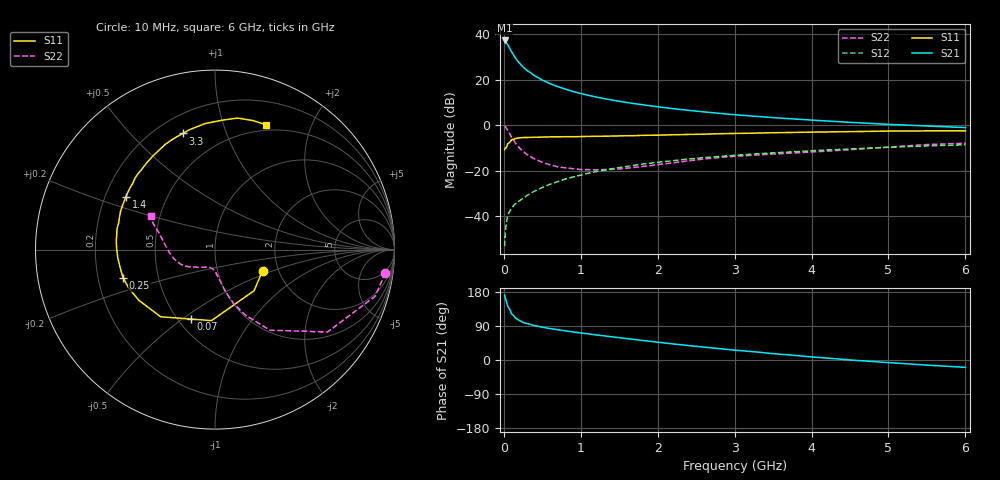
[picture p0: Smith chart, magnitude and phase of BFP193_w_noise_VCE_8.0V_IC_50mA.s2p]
! (c) 2017  Infineon Technologies AG, Munich
! Infineon Technologies  Discrete & RF Semiconductors
! BFP193
! VCE =  8.0 V,  IC =  50 mA
! Common Emitter S-Parameters:  Jan 2017
# GHz  S  MA  R  50
!  f  S11  S21  S12  S22
! GHz  MAG  ANG  MAG  ANG  MAG  ANG  MAG  ANG
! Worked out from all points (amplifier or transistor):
!   77 points, 10 MHz to 6 GHz, reference 50 ohm
!   highest |S21| = 37.2 dB at 10 MHz (marker M1)
!   |S21| within 3 dB of that: start of sweep to 68.52 MHz
!   unconditionally stable (mu >= 1): 613.8 MHz to 2.379 GHz
!   at 130 MHz: K = 0.58, MSG = 32.9 dB, |S12| = -35.2 dB
!   at 2.2 GHz: K = 1.01, MAG = 10.8 dB, |S12| = -15.6 dB
!   at 6 GHz: K = 0.91, MSG = 3.8 dB, |S12| = -8.6 dB
!   lowest NFmin = 1.52 dB at 450 MHz
!   S11 on the Smith chart (normalised r, x): 10 MHz: 1.65, -0.43; 70 MHz: 0.58, -0.54; 250 MHz: 0.31, -0.14; 1.4 GHz: 0.29, +0.25; 3.3 GHz: 0.30, +0.72; 6 GHz: 0.44, +1.40
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0.01  0.2901 -24.0  72.64 170.8  0.0022 81.8  0.9584 -7.8
0.02  0.3159 -46.4  70.98 162.9  0.0045 80.8  0.9286 -16.3
0.05  0.3961 -92.8  58.73 142.2  0.0104 66.4  0.777 -36.2
0.07  0.4092 -108.9  50.88 135.8  0.0123 63.0  0.6756 -42.3
0.1  0.4811 -128.9  40.85 121.9  0.0151 59.4  0.5447 -55.6
0.15  0.5099 -146.4  29.86 111.0  0.0188 57.2  0.4035 -65.1
0.2  0.5261 -156.0  23.29 104.3  0.0217 60.2  0.32 -70.8
0.25  0.5358 -163.0  18.97 99.4  0.0248 61.3  0.266 -74.1
0.3  0.5371 -167.7  15.96 96.0  0.0285 63.1  0.2269 -76.9
0.4  0.5436 -174.9  12.17 90.6  0.0357 66.3  0.1804 -80.3
0.5  0.548 179.5  9.777 86.5  0.0427 66.5  0.1533 -83.6
0.6  0.5526 175.1  8.2 83.0  0.0504 67.3  0.1347 -86.8
0.7  0.5537 171.5  7.041 80.0  0.0575 68.8  0.1216 -89.2
0.9  0.5573 164.4  5.49 74.1  0.0729 67.3  0.1107 -95.4
1.1  0.5675 158.1  4.526 68.9  0.0882 66.5  0.1057 -101.7
1.4  0.5773 149.3  3.583 61.3  0.1104 63.4  0.1069 -113.1
2.1  0.6095 130.5  2.418 44.7  0.1598 55.2  0.1423 -136.7
3.1  0.6624 109.2  1.65 24.4  0.2234 42.8  0.2121 -159.0
3.3  0.6715 105.5  1.555 20.8  0.2349 40.5  0.2218 -163.0
4.1  0.7074 92.8  1.265 6.6  0.2798 31.2  0.2637 -179.9
5.1  0.7438 79.0  1.026 -8.2  0.3312 19.8  0.3391 161.4
6  0.7516 67.8  0.887 -19.5  0.3714 9.8  0.4025 152.6
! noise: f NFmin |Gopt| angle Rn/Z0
0.45  1.52  0.43  -170  0.08
0.9  1.57  0.45  -164  0.09
1.9  2.2  0.61  -132  0.23
2.4  2.55  0.64  -119  0.48
